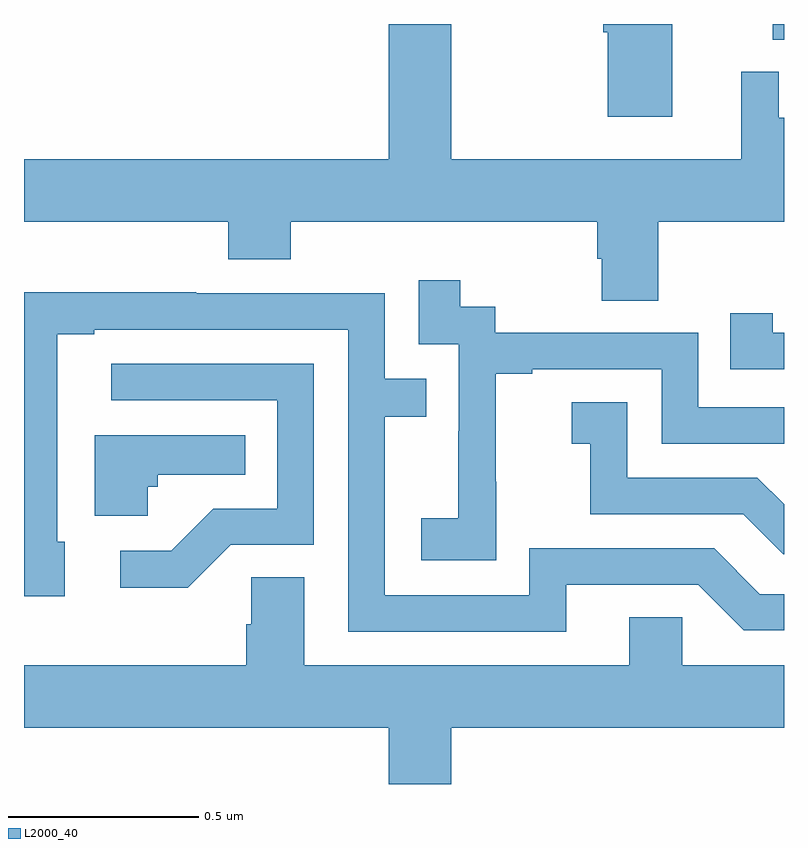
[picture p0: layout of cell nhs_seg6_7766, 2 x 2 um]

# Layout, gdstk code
import gdstk
lib = gdstk.Library(unit=1e-6, precision=1e-09)
def R(c, l, rs):  # rectangles x0, y0, x1, y1
    for r in rs: c.add(gdstk.rectangle(r[:2], r[2:], *l))
def P(c, l, *ps):  # polygons
    for p in ps: c.add(gdstk.Polygon(p, *l))
L2000_40 = (2000, 40)

nhs_seg6_7766 = lib.new_cell('nhs_seg6_7766')
R(nhs_seg6_7766, L2000_40, [(213.971,970.459,214,970.5)])
P(nhs_seg6_7766, L2000_40, [(213.669,969.98),(214,969.98),(214,970.253),(213.986,970.253),(213.986,970.374),(213.887,970.374),(213.887,970.144),(213.124,970.144),(213.124,970.5),(212.96,970.5),(212.96,970.144),(212,970.144),(212,969.98),(212.537,969.98),(212.537,969.881),(212.702,969.881),(212.702,969.98),(213.509,969.98),(213.509,969.882),(213.521,969.882),(213.521,969.772),(213.669,969.772)],
  [(213.706,970.5),(213.524,970.5),(213.524,970.478),(213.536,970.478),(213.536,970.256),(213.706,970.256)],
  [(213.243,969.295),(213.242,969.295),(213.242,969.579),(213.337,969.579),(213.337,969.591),(213.678,969.591),(213.678,969.396),(214,969.396),(214,969.492),(213.774,969.492),(213.774,969.687),(213.24,969.687),(213.24,969.756),(213.148,969.756),(213.148,969.826),(213.039,969.826),(213.039,969.657),(213.144,969.657),(213.144,969.428),(213.143,969.428),(213.143,969.199),(213.045,969.199),(213.045,969.089),(213.243,969.089)],
  [(213.427,969.024),(213.774,969.024),(213.894,968.904),(214,968.904),(214,969),(213.936,969),(213.816,969.12),(213.33,969.12),(213.33,968.997),(212.949,968.997),(212.949,969.466),(213.059,969.466),(213.059,969.567),(212.949,969.567),(212.949,969.792),(212.453,969.792),(212.453,969.794),(212,969.794),(212,968.994),(212.107,968.994),(212.107,969.138),(212.088,969.138),(212.088,969.684),(212.185,969.684),(212.185,969.696),(212.853,969.696),(212.853,968.901),(213.427,968.901)],
  [(214,969.687),(213.97,969.687),(213.97,969.739),(213.859,969.739),(213.859,969.591),(214,969.591)],
  [(212.544,969.129),(212.763,969.129),(212.763,969.606),(212.229,969.606),(212.229,969.51),(212.667,969.51),(212.667,969.225),(212.498,969.225),(212.387,969.114),(212.253,969.114),(212.253,969.017),(212.431,969.017)],
  [(214,969.236),(213.93,969.306),(213.588,969.306),(213.588,969.505),(213.441,969.505),(213.441,969.395),(213.49,969.395),(213.49,969.21),(213.893,969.21),(213.998,969.105),(214,969.105)],
  [(212.325,969.282),(212.352,969.282),(212.352,969.314),(212.582,969.314),(212.582,969.418),(212.186,969.418),(212.186,969.206),(212.325,969.206)],
  [(213.124,968.648),(214,968.648),(214,968.812),(213.732,968.812),(213.732,968.939),(213.593,968.939),(213.593,968.812),(212.737,968.812),(212.737,969.044),(212.598,969.044),(212.598,968.921),(212.585,968.921),(212.585,968.812),(212,968.812),(212,968.648),(212.96,968.648),(212.96,968.5),(213.124,968.5)])

lib.write_gds('nhs_seg6_7766.gds')
